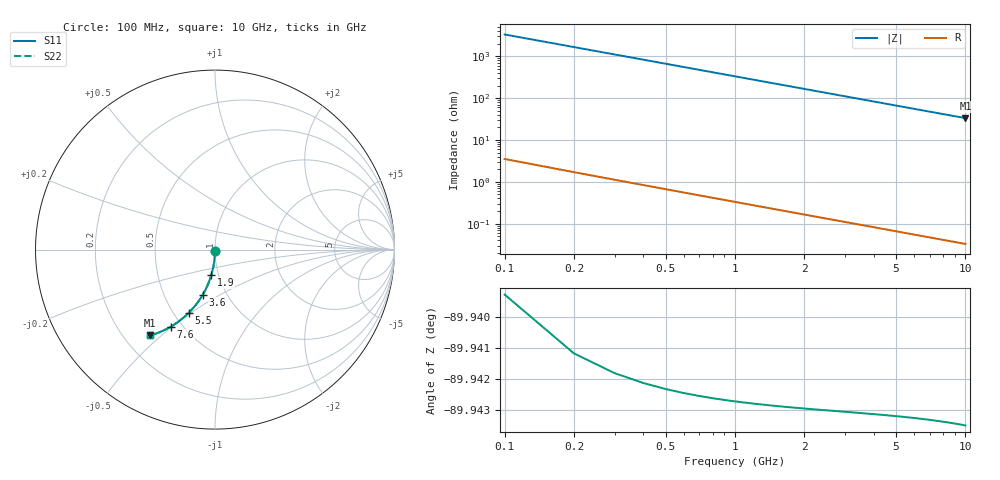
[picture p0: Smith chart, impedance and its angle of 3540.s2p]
# Hz S RI R 50.00
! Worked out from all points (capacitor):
!   100 points, 100 MHz to 10 GHz, reference 50 ohm
!   read as one part in shunt: C = 480 fF near 100 MHz
!   lowest |Z| = 33.3 ohm at 10 GHz (marker M1)
!   S11 on the Smith chart (normalised r, x): 100 MHz: 1.00, -0.02; 1.9 GHz: 0.92, -0.26; 3.6 GHz: 0.77, -0.42; 5.5 GHz: 0.59, -0.49; 7.6 GHz: 0.43, -0.49; 10 GHz: 0.31, -0.46
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1e8  -5.12e-05 -0.00752  0.9999 -0.00756  0.9999 -0.00756  -5.12e-05 -0.00752
2e8  -0.000229 -0.015  0.9997 -0.0151  0.9997 -0.0151  -0.000229 -0.015
3e8  -0.000521 -0.0226  0.9995 -0.0227  0.9995 -0.0227  -0.000521 -0.0226
4e8  -0.000925 -0.0301  0.999 -0.0302  0.999 -0.0302  -0.000925 -0.0301
5e8  -0.00144 -0.0376  0.9985 -0.0377  0.9985 -0.0377  -0.00144 -0.0376
6e8  -0.00207 -0.045  0.9979 -0.0452  0.9979 -0.0452  -0.00207 -0.045
8e8  -0.00367 -0.06  0.9963 -0.0602  0.9963 -0.0602  -0.00367 -0.06
1.1e9  -0.0069 -0.0822  0.9931 -0.0825  0.9931 -0.0825  -0.0069 -0.0822
1.4e9  -0.0111 -0.1041  0.9889 -0.1046  0.9889 -0.1046  -0.0111 -0.1041
1.8e9  -0.0182 -0.1329  0.9818 -0.1335  0.9818 -0.1335  -0.0182 -0.1329
1.9e9  -0.0202 -0.14  0.9797 -0.1406  0.9797 -0.1406  -0.0202 -0.14
2.2e9  -0.0269 -0.161  0.9731 -0.1617  0.9731 -0.1617  -0.0269 -0.161
2.6e9  -0.0371 -0.1882  0.9628 -0.1891  0.9628 -0.1891  -0.0371 -0.1882
3.4e9  -0.0618 -0.2398  0.9382 -0.2409  0.9382 -0.2409  -0.0618 -0.2398
3.6e9  -0.0687 -0.252  0.9312 -0.2531  0.9312 -0.2531  -0.0687 -0.252
4.3e9  -0.0952 -0.2923  0.9048 -0.2937  0.9048 -0.2937  -0.0952 -0.2923
5.1e9  -0.1288 -0.3337  0.8712 -0.3353  0.8712 -0.3353  -0.1288 -0.3337
5.5e9  -0.1467 -0.3524  0.8533 -0.3542  0.8533 -0.3542  -0.1467 -0.3524
6.7e9  -0.203 -0.4006  0.797 -0.4028  0.797 -0.4028  -0.203 -0.4006
7.6e9  -0.2466 -0.4293  0.7533 -0.4318  0.7533 -0.4318  -0.2466 -0.4293
8.4e9  -0.2855 -0.4498  0.7144 -0.4525  0.7144 -0.4525  -0.2855 -0.4498
1e10  -0.3612 -0.4782  0.6387 -0.4815  0.6387 -0.4815  -0.3612 -0.4782
